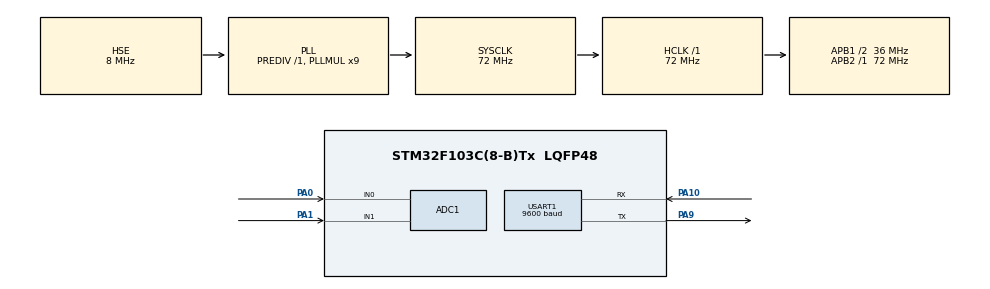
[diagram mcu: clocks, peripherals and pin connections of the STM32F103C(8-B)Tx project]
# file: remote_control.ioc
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ADC1.Channel-10\#ChannelRegularConversion=ADC_CHANNEL_0
ADC1.Channel-11\#ChannelRegularConversion=ADC_CHANNEL_1
ADC1.ContinuousConvMode=DISABLE
ADC1.EnableRegularConversion=ENABLE
ADC1.NbrOfConversion=2
ADC1.NbrOfConversionFlag=1
ADC1.Rank-10\#ChannelRegularConversion=1
ADC1.Rank-11\#ChannelRegularConversion=2
ADC1.SamplingTime-10\#ChannelRegularConversion=ADC_SAMPLETIME_28CYCLES_5
ADC1.SamplingTime-11\#ChannelRegularConversion=ADC_SAMPLETIME_28CYCLES_5
ADC1.master=1
Dma.ADC1.0.Direction=DMA_PERIPH_TO_MEMORY
Dma.ADC1.0.Instance=DMA1_Channel1
Dma.ADC1.0.MemDataAlignment=DMA_MDATAALIGN_WORD
Dma.ADC1.0.MemInc=DMA_MINC_ENABLE
Dma.ADC1.0.Mode=DMA_CIRCULAR
Dma.ADC1.0.PeriphDataAlignment=DMA_PDATAALIGN_WORD
Dma.ADC1.0.PeriphInc=DMA_PINC_DISABLE
Dma.ADC1.0.Priority=DMA_PRIORITY_LOW
Dma.Request0=ADC1
Mcu.Family=STM32F1
Mcu.Name=STM32F103C(8-B)Tx
Mcu.Package=LQFP48
NVIC.DMA1_Channel1_IRQn=true\:0\:0\:false\:false\:true\:false\:true\:true
NVIC.PriorityGroup=NVIC_PRIORITYGROUP_4
NVIC.TIM1_UP_IRQn=true\:0\:0\:false\:false\:true\:true\:true\:true
PA0-WKUP.Signal=ADCx_IN0
PA1.Signal=ADCx_IN1
PA10.Mode=Asynchronous
PA10.Signal=USART1_RX
PA13.Mode=Serial_Wire
PA13.Signal=SYS_JTMS-SWDIO
PA14.Mode=Serial_Wire
PA14.Signal=SYS_JTCK-SWCLK
PA9.Mode=Asynchronous
PA9.Signal=USART1_TX
PD0-OSC_IN.Mode=HSE-External-Oscillator
PD0-OSC_IN.Signal=RCC_OSC_IN
PD1-OSC_OUT.Mode=HSE-External-Oscillator
PD1-OSC_OUT.Signal=RCC_OSC_OUT
ProjectManager.HeapSize=0x200
ProjectManager.StackSize=0x400
ProjectManager.TargetToolchain=STM32CubeIDE
RCC.ADCPresc=RCC_ADCPCLK2_DIV6
RCC.AHBFreq_Value=72000000
RCC.APB1CLKDivider=RCC_HCLK_DIV2
RCC.APB1Freq_Value=36000000
RCC.APB1TimFreq_Value=72000000
RCC.APB2Freq_Value=72000000
RCC.APB2TimFreq_Value=72000000
RCC.HCLKFreq_Value=72000000
RCC.PLLMUL=RCC_PLL_MUL9
RCC.PLLSourceVirtual=RCC_PLLSOURCE_HSE
RCC.SYSCLKFreq_VALUE=72000000
RCC.SYSCLKSource=RCC_SYSCLKSOURCE_PLLCLK
RCC.USBFreq_Value=72000000
SH.ADCx_IN0.0=ADC1_IN0,IN0
SH.ADCx_IN1.0=ADC1_IN1,IN1
TIM1.Period=100
TIM1.Prescaler=719
USART1.BaudRate=9600
USART1.VirtualMode=VM_ASYNC
VP_TIM1_VS_ClockSourceINT.Mode=Internal
board=custom

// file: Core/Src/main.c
/* USER CODE BEGIN Header */
/**
  ******************************************************************************
  * @file           : main.c
  * @brief          : Main program body
  ******************************************************************************
  * @attention
  *
  * Copyright (c) 2025 STMicroelectronics.
  * All rights reserved.
  *
  * This software is licensed under terms that can be found in the LICENSE file
  * in the root directory of this software component.
  * If no LICENSE file comes with this software, it is provided AS-IS.
  *
  ******************************************************************************
  */
/* USER CODE END Header */
#include "main.h"

/* USER CODE BEGIN Includes */
#include <stdio.h>
#include <string.h>
/* USER CODE END Includes */

/* USER CODE BEGIN PD */
#define THRESHOLD_MOVEMENT_LOWER 24000
#define THRESHOLD_MOVEMENT_UPPER 40000
#define THRESHOLD_HIGH_SPEED_LOWER 4000
#define THRESHOLD_HIGH_SPEED_UPPER 60000
/* USER CODE END PD */

ADC_HandleTypeDef hadc1;
DMA_HandleTypeDef hdma_adc1;

TIM_HandleTypeDef htim1;

UART_HandleTypeDef huart1;

/* USER CODE BEGIN PV */
uint32_t adc_buffer[2];
uint16_t joystick_x = 0, joystick_y = 0;
uint16_t j_millis = 0;
uint16_t j_period = 100;
uint8_t data = 0x00;
/* USER CODE END PV */

void SystemClock_Config(void);
static void MX_GPIO_Init(void);
static void MX_DMA_Init(void);
static void MX_ADC1_Init(void);
static void MX_TIM1_Init(void);
static void MX_USART1_UART_Init(void);
/* USER CODE BEGIN PFP */
void Read_Joystick(void);
void SendUint32AsDecimalWithNewline(UART_HandleTypeDef *huart, uint32_t value);
/* USER CODE END PFP */

int main(void)
{

  /* MCU Configuration--------------------------------------------------------*/

  /* Reset of all peripherals, Initializes the Flash interface and the Systick. */
  HAL_Init();

  /* Configure the system clock */
  SystemClock_Config();

  /* Initialize all configured peripherals */
  MX_GPIO_Init();
  MX_DMA_Init();
  MX_ADC1_Init();
  MX_TIM1_Init();
  MX_USART1_UART_Init();
  /* USER CODE BEGIN 2 */

  HAL_TIM_Base_Start_IT(&htim1); // start timer
  HAL_ADC_Start(&hadc1); //Initialize ADC

  /* USER CODE END 2 */

  /* Infinite loop */
  while (1)
  {

  }
}

void SystemClock_Config(void)
{
  RCC_OscInitTypeDef RCC_OscInitStruct = {0};
  RCC_ClkInitTypeDef RCC_ClkInitStruct = {0};
  RCC_PeriphCLKInitTypeDef PeriphClkInit = {0};

  /** Initializes the RCC Oscillators according to the specified parameters
  * in the RCC_OscInitTypeDef structure.
  */
  RCC_OscInitStruct.OscillatorType = RCC_OSCILLATORTYPE_HSE;
  RCC_OscInitStruct.HSEState = RCC_HSE_ON;
  RCC_OscInitStruct.HSEPredivValue = RCC_HSE_PREDIV_DIV1;
  RCC_OscInitStruct.HSIState = RCC_HSI_ON;
  RCC_OscInitStruct.PLL.PLLState = RCC_PLL_ON;
  RCC_OscInitStruct.PLL.PLLSource = RCC_PLLSOURCE_HSE;
  RCC_OscInitStruct.PLL.PLLMUL = RCC_PLL_MUL9;
  if (HAL_RCC_OscConfig(&RCC_OscInitStruct) != HAL_OK)
  {
    Error_Handler();
  }

  /** Initializes the CPU, AHB and APB buses clocks
  */
  RCC_ClkInitStruct.ClockType = RCC_CLOCKTYPE_HCLK|RCC_CLOCKTYPE_SYSCLK
                              |RCC_CLOCKTYPE_PCLK1|RCC_CLOCKTYPE_PCLK2;
  RCC_ClkInitStruct.SYSCLKSource = RCC_SYSCLKSOURCE_PLLCLK;
  RCC_ClkInitStruct.AHBCLKDivider = RCC_SYSCLK_DIV1;
  RCC_ClkInitStruct.APB1CLKDivider = RCC_HCLK_DIV2;
  RCC_ClkInitStruct.APB2CLKDivider = RCC_HCLK_DIV1;

  if (HAL_RCC_ClockConfig(&RCC_ClkInitStruct, FLASH_LATENCY_2) != HAL_OK)
  {
    Error_Handler();
  }
  PeriphClkInit.PeriphClockSelection = RCC_PERIPHCLK_ADC;
  PeriphClkInit.AdcClockSelection = RCC_ADCPCLK2_DIV6;
  if (HAL_RCCEx_PeriphCLKConfig(&PeriphClkInit) != HAL_OK)
  {
    Error_Handler();
  }
}

static void MX_ADC1_Init(void)
{

  ADC_ChannelConfTypeDef sConfig = {0};

  /** Common config
  */
  hadc1.Instance = ADC1;
  hadc1.Init.ScanConvMode = ADC_SCAN_ENABLE;
  hadc1.Init.ContinuousConvMode = DISABLE;
  hadc1.Init.DiscontinuousConvMode = DISABLE;
  hadc1.Init.ExternalTrigConv = ADC_SOFTWARE_START;
  hadc1.Init.DataAlign = ADC_DATAALIGN_RIGHT;
  hadc1.Init.NbrOfConversion = 2;
  if (HAL_ADC_Init(&hadc1) != HAL_OK)
  {
    Error_Handler();
  }

  /** Configure Regular Channel
  */
  sConfig.Channel = ADC_CHANNEL_0;
  sConfig.Rank = ADC_REGULAR_RANK_1;
  sConfig.SamplingTime = ADC_SAMPLETIME_28CYCLES_5;
  if (HAL_ADC_ConfigChannel(&hadc1, &sConfig) != HAL_OK)
  {
    Error_Handler();
  }

  /** Configure Regular Channel
  */
  sConfig.Channel = ADC_CHANNEL_1;
  sConfig.Rank = ADC_REGULAR_RANK_2;
  if (HAL_ADC_ConfigChannel(&hadc1, &sConfig) != HAL_OK)
  {
    Error_Handler();
  }

}

static void MX_TIM1_Init(void)
{

  TIM_ClockConfigTypeDef sClockSourceConfig = {0};
  TIM_MasterConfigTypeDef sMasterConfig = {0};

  htim1.Instance = TIM1;
  htim1.Init.Prescaler = 719;
  htim1.Init.CounterMode = TIM_COUNTERMODE_UP;
  htim1.Init.Period = 100;
  htim1.Init.ClockDivision = TIM_CLOCKDIVISION_DIV1;
  htim1.Init.RepetitionCounter = 0;
  htim1.Init.AutoReloadPreload = TIM_AUTORELOAD_PRELOAD_DISABLE;
  if (HAL_TIM_Base_Init(&htim1) != HAL_OK)
  {
    Error_Handler();
  }
  sClockSourceConfig.ClockSource = TIM_CLOCKSOURCE_INTERNAL;
  if (HAL_TIM_ConfigClockSource(&htim1, &sClockSourceConfig) != HAL_OK)
  {
    Error_Handler();
  }
  sMasterConfig.MasterOutputTrigger = TIM_TRGO_RESET;
  sMasterConfig.MasterSlaveMode = TIM_MASTERSLAVEMODE_DISABLE;
  if (HAL_TIMEx_MasterConfigSynchronization(&htim1, &sMasterConfig) != HAL_OK)
  {
    Error_Handler();
  }

}

static void MX_USART1_UART_Init(void)
{

  huart1.Instance = USART1;
  huart1.Init.BaudRate = 9600;
  huart1.Init.WordLength = UART_WORDLENGTH_8B;
  huart1.Init.StopBits = UART_STOPBITS_1;
  huart1.Init.Parity = UART_PARITY_NONE;
  huart1.Init.Mode = UART_MODE_TX_RX;
  huart1.Init.HwFlowCtl = UART_HWCONTROL_NONE;
  huart1.Init.OverSampling = UART_OVERSAMPLING_16;
  if (HAL_UART_Init(&huart1) != HAL_OK)
  {
    Error_Handler();
  }

}

static void MX_DMA_Init(void)
{

  /* DMA controller clock enable */
  __HAL_RCC_DMA1_CLK_ENABLE();

  /* DMA interrupt init */
  /* DMA1_Channel1_IRQn interrupt configuration */
  HAL_NVIC_SetPriority(DMA1_Channel1_IRQn, 0, 0);
  HAL_NVIC_EnableIRQ(DMA1_Channel1_IRQn);

}

static void MX_GPIO_Init(void)
{

  /* GPIO Ports Clock Enable */
  __HAL_RCC_GPIOD_CLK_ENABLE();
  __HAL_RCC_GPIOA_CLK_ENABLE();

}

/* USER CODE BEGIN 4 */
//Process timer interrupts
void HAL_TIM_PeriodElapsedCallback(TIM_HandleTypeDef *htim){

	if(htim == &htim1){ //Check if it's TIM1
		//One millisecond timer action

    HAL_ADC_Start_DMA(&hadc1, adc_buffer, 2);

    j_millis++;
		if (j_millis == j_period){
			j_millis = 0;
			//Read joystick here
			Read_Joystick();
		}
	}
}

void Read_Joystick(void){

  // SendUint32AsDecimalWithNewline(&huart1, joystick_x);
  // SendUint32AsDecimalWithNewline(&huart1, joystick_y);

  //Top = 1
  if (joystick_y <= THRESHOLD_MOVEMENT_LOWER && joystick_x < THRESHOLD_MOVEMENT_UPPER && joystick_x > THRESHOLD_MOVEMENT_LOWER){
    data = 0x01;
  }
  //Top-right = 2
  else if (joystick_y <= THRESHOLD_MOVEMENT_LOWER && joystick_x >= THRESHOLD_MOVEMENT_UPPER){
    data = 0x02;
  }
  //Right = 3
  else if (joystick_x >= THRESHOLD_MOVEMENT_UPPER && joystick_y < THRESHOLD_MOVEMENT_UPPER && joystick_y > THRESHOLD_MOVEMENT_LOWER){
    data = 0x03;
  }
  //Bottom-right = 4
  else if (joystick_y >= THRESHOLD_MOVEMENT_UPPER && joystick_x >= THRESHOLD_MOVEMENT_UPPER){
    data = 0x04;
  }
  //Bottom = 5
  else if (joystick_y >= THRESHOLD_MOVEMENT_UPPER && joystick_x < THRESHOLD_MOVEMENT_UPPER && joystick_x > THRESHOLD_MOVEMENT_LOWER){
    data = 0x05;
  }
  //Bottom-left = 6
  else if (joystick_y >= THRESHOLD_MOVEMENT_UPPER && joystick_x <= THRESHOLD_MOVEMENT_LOWER){
    data = 0x06;
  }
  //Left = 7
  else if (joystick_x <= THRESHOLD_MOVEMENT_LOWER && joystick_y < THRESHOLD_MOVEMENT_UPPER && joystick_y > THRESHOLD_MOVEMENT_LOWER){
    data = 0x07;
  }
  //Top-left = 8
  else if (joystick_y <= THRESHOLD_MOVEMENT_LOWER && joystick_x <= THRESHOLD_MOVEMENT_LOWER){
    data = 0x08;
  }
  //Stop
  else{
	  data = 0x00;
  }

  if (data > 0 && (joystick_x >= THRESHOLD_HIGH_SPEED_UPPER || joystick_x <= THRESHOLD_HIGH_SPEED_LOWER || joystick_y >= THRESHOLD_HIGH_SPEED_UPPER || joystick_y <= THRESHOLD_HIGH_SPEED_LOWER)){
    data = data | 0x10;
  }

  USART1->DR = data;

}

void SendUint32AsDecimalWithNewline(UART_HandleTypeDef *huart, uint32_t value) {
    char buffer[16]; // Buffer large enough for a 32-bit decimal string and newline

    // Convert uint32_t to string as a decimal and add newline
    snprintf(buffer, sizeof(buffer), "%lu\r\n", (unsigned long)value);

    // Transmit the string via UART
    HAL_UART_Transmit(huart, (uint8_t *)buffer, strlen(buffer), HAL_MAX_DELAY);
}

void HAL_ADC_ConvCpltCallback(ADC_HandleTypeDef* hadc)
{
    joystick_x = adc_buffer[0] << 4;
    joystick_y = adc_buffer[1] << 4;
}

/* USER CODE END 4 */

void Error_Handler(void)
{
  __disable_irq();
  while (1)
  {
  }
}
